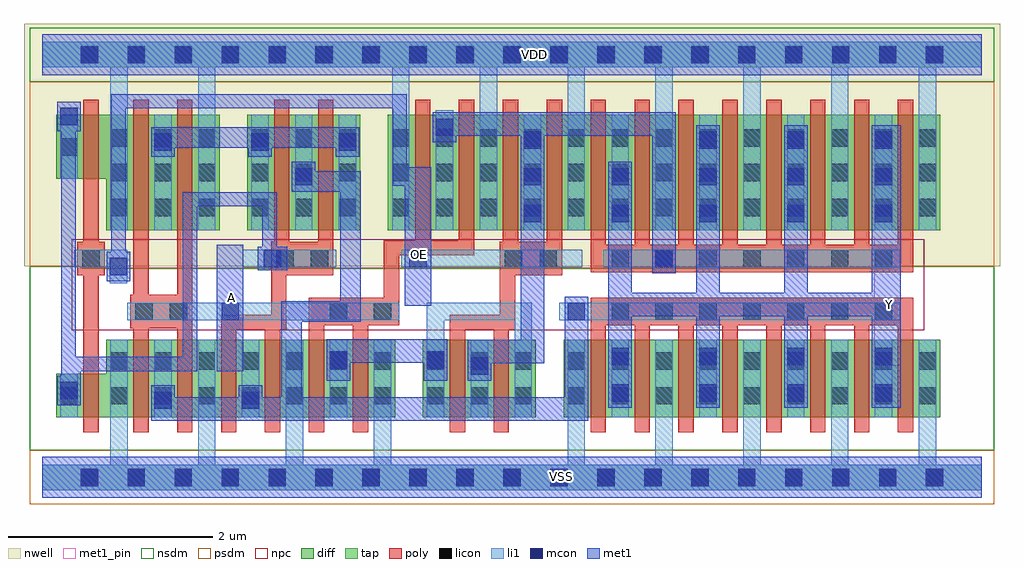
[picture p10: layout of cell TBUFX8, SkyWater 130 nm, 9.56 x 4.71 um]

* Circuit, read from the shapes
.subckt TBUFX8 A OE VDD VSS Y
XM1 VSS OE n1 VSS sky130_fd_pr__nfet_01v8 w=0.425 l=0.15
XM2 n2 A VSS VSS sky130_fd_pr__nfet_01v8 w=0.76 l=0.15 m=2
XM3 n2 n1 VSS VSS sky130_fd_pr__nfet_01v8 w=0.76 l=0.15 m=2
XM4 n3 A VSS VSS sky130_fd_pr__nfet_01v8 w=0.76 l=0.15 m=2
XM5 n4 OE n3 VSS sky130_fd_pr__nfet_01v8 w=0.76 l=0.15 m=2
XM6 Y n2 VSS VSS sky130_fd_pr__nfet_01v8 w=0.76 l=0.15 m=8
XM7 VDD OE n1 VDD sky130_fd_pr__pfet_01v8 w=0.625 l=0.15
XM8 n5 A VDD VDD sky130_fd_pr__pfet_01v8 w=1.13 l=0.15 m=2
XM9 n2 n1 n5 VDD sky130_fd_pr__pfet_01v8 w=1.13 l=0.15 m=2
XM10 n4 A VDD VDD sky130_fd_pr__pfet_01v8 w=1.13 l=0.15 m=2
XM11 n4 OE VDD VDD sky130_fd_pr__pfet_01v8 w=1.13 l=0.15 m=2
XM12 Y n4 VDD VDD sky130_fd_pr__pfet_01v8 w=1.13 l=0.15 m=8
.ends

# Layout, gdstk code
from math import pi, radians
import gdstk
lib = gdstk.Library(unit=1e-6, precision=1e-09)
def R(c, l, rs):  # rectangles x0, y0, x1, y1
    for r in rs: c.add(gdstk.rectangle(r[:2], r[2:], *l))
def A(c, l, x, y, w, h, nx, ny, dx, dy):  # array of equal rectangles
    R(c, l, [(x+i*dx, y+j*dy, x+i*dx+w, y+j*dy+h) for i in range(nx) for j in range(ny)])
def P(c, l, *ps):  # polygons
    for p in ps: c.add(gdstk.Polygon(p, *l))
nwell = (64, 20)
diff = (65, 20)
tap = (65, 44)
poly = (66, 20)
licon = (66, 44)
li1 = (67, 20)
mcon = (67, 44)
met1_pin = (68, 16)
met1 = (68, 20)
nsdm = (93, 44)
psdm = (94, 20)
npc = (95, 20)

pfet_01v8_cdns_716492285 = lib.new_cell('pfet_01v8_CDNS_7164922852256')
R(pfet_01v8_cdns_716492285, nwell, [(-0.235,-0.18,3.605,1.31)])
A(pfet_01v8_cdns_716492285, diff, 0, 0, 0.15, 1.13, 8, 1, 0.43, 0)
A(pfet_01v8_cdns_716492285, diff, 0.15, 0, 0.28, 1.13, 7, 1, 0.43, 0)
R(pfet_01v8_cdns_716492285, diff, [(-0.055,0,0,1.13), (3.16,0,3.425,1.13)])
A(pfet_01v8_cdns_716492285, poly, 0, -0.15, 0.15, 0.055, 8, 2, 0.43, 1.375)
A(pfet_01v8_cdns_716492285, poly, 0, -0.095, 0.15, 0.095, 8, 2, 0.43, 1.225)
A(pfet_01v8_cdns_716492285, poly, 0, 0, 0.15, 1.13, 8, 1, 0.43, 0)
A(pfet_01v8_cdns_716492285, licon, 0.205, 0.14, 0.17, 0.17, 8, 3, 0.43, 0.34)
A(pfet_01v8_cdns_716492285, li1, 0.205, 0, 0.17, 1.13, 8, 1, 0.43, 0)
R(pfet_01v8_cdns_716492285, psdm, [(-0.065,-0.13,3.565,1.26)])

nfet_01v8_cdns_716492285 = lib.new_cell('nfet_01v8_CDNS_7164922852257')
R(nfet_01v8_cdns_716492285, diff, [(-0.055,0,0,0.76), (0,0,0.15,0.76), (0.15,0,0.43,0.76), (0.43,0,0.58,0.76), (0.58,0,0.845,0.76)])
R(nfet_01v8_cdns_716492285, poly, [(0,-0.15,0.15,-0.095), (0.43,-0.15,0.58,-0.095), (0,-0.095,0.15,0), (0.43,-0.095,0.58,0), (0,0,0.15,0.76), (0.43,0,0.58,0.76), (0,0.76,0.15,0.855), (0.43,0.76,0.58,0.855), (0,0.855,0.15,0.91), (0.43,0.855,0.58,0.91)])
R(nfet_01v8_cdns_716492285, licon, [(0.205,0.125,0.375,0.295), (0.635,0.125,0.805,0.295), (0.205,0.465,0.375,0.635), (0.635,0.465,0.805,0.635)])
R(nfet_01v8_cdns_716492285, li1, [(0.205,0,0.375,0.76), (0.635,0,0.805,0.76)])
R(nfet_01v8_cdns_716492285, nsdm, [(-0.065,-0.13,0.985,0.89)])

c_nfet_01v8_cdns_716492285 = lib.new_cell('nfet_01v8_CDNS_7164922852258')
R(c_nfet_01v8_cdns_716492285, diff, [(-0.055,0,0,0.76), (0,0,0.15,0.76), (0.15,0,0.43,0.76), (0.43,0,0.58,0.76), (0.58,0,0.805,0.76)])
R(c_nfet_01v8_cdns_716492285, poly, [(0,-0.15,0.15,-0.095), (0.43,-0.15,0.58,-0.095), (0,-0.095,0.15,0), (0.43,-0.095,0.58,0), (0,0,0.15,0.76), (0.43,0,0.58,0.76), (0,0.76,0.15,0.855), (0.43,0.76,0.58,0.855), (0,0.855,0.15,0.91), (0.43,0.855,0.58,0.91)])
R(c_nfet_01v8_cdns_716492285, licon, [(0.205,0.125,0.375,0.295), (0.635,0.125,0.805,0.295), (0.205,0.465,0.375,0.635), (0.635,0.465,0.805,0.635)])
R(c_nfet_01v8_cdns_716492285, li1, [(0.205,0,0.375,0.76), (0.635,0,0.805,0.76)])
R(c_nfet_01v8_cdns_716492285, nsdm, [(-0.065,-0.13,0.815,0.89)])

c_pfet_01v8_cdns_716492285 = lib.new_cell('pfet_01v8_CDNS_7164922852259')
R(c_pfet_01v8_cdns_716492285, nwell, [(-0.235,-0.18,0.985,1.31)])
R(c_pfet_01v8_cdns_716492285, diff, [(-0.055,0,0,1.13), (0,0,0.15,1.13), (0.15,0,0.43,1.13), (0.43,0,0.58,1.13), (0.58,0,0.805,1.13)])
R(c_pfet_01v8_cdns_716492285, poly, [(0,-0.15,0.15,-0.095), (0.43,-0.15,0.58,-0.095), (0,-0.095,0.15,0), (0.43,-0.095,0.58,0), (0,0,0.15,1.13), (0.43,0,0.58,1.13), (0,1.13,0.15,1.225), (0.43,1.13,0.58,1.225), (0,1.225,0.15,1.28), (0.43,1.225,0.58,1.28)])
A(c_pfet_01v8_cdns_716492285, licon, 0.205, 0.14, 0.17, 0.17, 1, 3, 0, 0.34)
A(c_pfet_01v8_cdns_716492285, licon, 0.635, 0.14, 0.17, 0.17, 1, 3, 0, 0.34)
R(c_pfet_01v8_cdns_716492285, li1, [(0.205,0,0.375,1.13), (0.635,0,0.805,1.13)])
R(c_pfet_01v8_cdns_716492285, psdm, [(-0.065,-0.13,0.815,1.26)])

c_pfet_01v8_cdns_716492285_ = lib.new_cell('pfet_01v8_CDNS_7164922852260')
R(c_pfet_01v8_cdns_716492285_, nwell, [(-0.445,-0.18,1.025,1.31)])
R(c_pfet_01v8_cdns_716492285_, diff, [(-0.265,0,0,1.13), (0,0,0.15,1.13), (0.15,0,0.43,1.13), (0.43,0,0.58,1.13), (0.58,0,0.845,1.13)])
R(c_pfet_01v8_cdns_716492285_, poly, [(0,-0.15,0.15,-0.095), (0.43,-0.15,0.58,-0.095), (0,-0.095,0.15,0), (0.43,-0.095,0.58,0), (0,0,0.15,1.13), (0.43,0,0.58,1.13), (0,1.13,0.15,1.225), (0.43,1.13,0.58,1.225), (0,1.225,0.15,1.28), (0.43,1.225,0.58,1.28)])
A(c_pfet_01v8_cdns_716492285_, licon, -0.225, 0.14, 0.17, 0.17, 3, 3, 0.43, 0.34)
A(c_pfet_01v8_cdns_716492285_, li1, -0.225, 0, 0.17, 1.13, 3, 1, 0.43, 0)
R(c_pfet_01v8_cdns_716492285_, psdm, [(-0.405,-0.13,0.985,1.26)])

c_nfet_01v8_cdns_716492285_ = lib.new_cell('nfet_01v8_CDNS_7164922852261')
R(c_nfet_01v8_cdns_716492285_, diff, [(-0.265,0,0,0.76), (0,0,0.15,0.76), (0.15,0,0.43,0.76), (0.43,0,0.58,0.76), (0.58,0,0.845,0.76)])
R(c_nfet_01v8_cdns_716492285_, poly, [(0,-0.15,0.15,-0.095), (0.43,-0.15,0.58,-0.095), (0,-0.095,0.15,0), (0.43,-0.095,0.58,0), (0,0,0.15,0.76), (0.43,0,0.58,0.76), (0,0.76,0.15,0.855), (0.43,0.76,0.58,0.855), (0,0.855,0.15,0.91), (0.43,0.855,0.58,0.91)])
A(c_nfet_01v8_cdns_716492285_, licon, -0.225, 0.125, 0.17, 0.17, 3, 2, 0.43, 0.34)
A(c_nfet_01v8_cdns_716492285_, li1, -0.225, 0, 0.17, 0.76, 3, 1, 0.43, 0)
R(c_nfet_01v8_cdns_716492285_, nsdm, [(-0.405,-0.13,0.985,0.89)])

c_pfet_01v8_cdns_716492285__ = lib.new_cell('pfet_01v8_CDNS_7164922852262')
R(c_pfet_01v8_cdns_716492285__, nwell, [(-0.255,-0.18,0.595,0.805)])
R(c_pfet_01v8_cdns_716492285__, diff, [(-0.075,0,0,0.625), (0,0,0.15,0.625), (0.15,0,0.415,0.625)])
R(c_pfet_01v8_cdns_716492285__, poly, [(0,-0.15,0.15,-0.095), (0,-0.095,0.15,0), (0,0,0.15,0.625), (0,0.625,0.15,0.72), (0,0.72,0.15,0.775)])
R(c_pfet_01v8_cdns_716492285__, licon, [(0.205,0.225,0.375,0.395)])
R(c_pfet_01v8_cdns_716492285__, li1, [(0.205,0,0.375,0.625)])
R(c_pfet_01v8_cdns_716492285__, psdm, [(0.045,-0.13,0.555,0.755)])

c_nfet_01v8_cdns_716492285__ = lib.new_cell('nfet_01v8_CDNS_7164922852263')
R(c_nfet_01v8_cdns_716492285__, diff, [(-0.265,0,0,0.76), (0,0,0.15,0.76), (0.15,0,0.43,0.76), (0.43,0,0.58,0.76), (0.58,0,0.805,0.76)])
R(c_nfet_01v8_cdns_716492285__, poly, [(0,-0.15,0.15,-0.095), (0.43,-0.15,0.58,-0.095), (0,-0.095,0.15,0), (0.43,-0.095,0.58,0), (0,0,0.15,0.76), (0.43,0,0.58,0.76), (0,0.76,0.15,0.855), (0.43,0.76,0.58,0.855), (0,0.855,0.15,0.91), (0.43,0.855,0.58,0.91)])
A(c_nfet_01v8_cdns_716492285__, licon, -0.225, 0.125, 0.17, 0.17, 3, 2, 0.43, 0.34)
A(c_nfet_01v8_cdns_716492285__, li1, -0.225, 0, 0.17, 0.76, 3, 1, 0.43, 0)
R(c_nfet_01v8_cdns_716492285__, nsdm, [(-0.405,-0.13,0.815,0.89)])

c_nfet_01v8_cdns_716492285___ = lib.new_cell('nfet_01v8_CDNS_7164922852264')
A(c_nfet_01v8_cdns_716492285___, diff, 0, 0, 0.15, 0.76, 8, 1, 0.43, 0)
A(c_nfet_01v8_cdns_716492285___, diff, 0.15, 0, 0.28, 0.76, 7, 1, 0.43, 0)
R(c_nfet_01v8_cdns_716492285___, diff, [(-0.265,0,0,0.76), (3.16,0,3.425,0.76)])
A(c_nfet_01v8_cdns_716492285___, poly, 0, -0.15, 0.15, 0.055, 8, 2, 0.43, 1.005)
A(c_nfet_01v8_cdns_716492285___, poly, 0, -0.095, 0.15, 0.095, 8, 2, 0.43, 0.855)
A(c_nfet_01v8_cdns_716492285___, poly, 0, 0, 0.15, 0.76, 8, 1, 0.43, 0)
A(c_nfet_01v8_cdns_716492285___, licon, -0.225, 0.125, 0.17, 0.17, 9, 2, 0.43, 0.34)
A(c_nfet_01v8_cdns_716492285___, li1, -0.225, 0, 0.17, 0.76, 9, 1, 0.43, 0)
R(c_nfet_01v8_cdns_716492285___, nsdm, [(-0.405,-0.13,3.565,0.89)])

c_nfet_01v8_cdns_716492285____ = lib.new_cell('nfet_01v8_CDNS_7164922852265')
R(c_nfet_01v8_cdns_716492285____, diff, [(-0.075,0,0,0.425), (0,0,0.15,0.425), (0.15,0,0.415,0.425)])
R(c_nfet_01v8_cdns_716492285____, poly, [(0,-0.15,0.15,-0.095), (0,-0.095,0.15,0), (0,0,0.15,0.425), (0,0.425,0.15,0.52), (0,0.52,0.15,0.575)])
R(c_nfet_01v8_cdns_716492285____, licon, [(0.205,0.125,0.375,0.295)])
R(c_nfet_01v8_cdns_716492285____, li1, [(0.205,0,0.375,0.425)])
R(c_nfet_01v8_cdns_716492285____, nsdm, [(0.045,-0.13,0.555,0.555)])

c_pfet_01v8_cdns_716492285___ = lib.new_cell('pfet_01v8_CDNS_7164922852266')
R(c_pfet_01v8_cdns_716492285___, nwell, [(-0.445,-0.18,1.025,1.31)])
R(c_pfet_01v8_cdns_716492285___, diff, [(-0.265,0,0,1.13), (0,0,0.15,1.13), (0.15,0,0.43,1.13), (0.43,0,0.58,1.13), (0.58,0,0.845,1.13)])
R(c_pfet_01v8_cdns_716492285___, poly, [(0,-0.15,0.15,-0.095), (0.43,-0.15,0.58,-0.095), (0,-0.095,0.15,0), (0.43,-0.095,0.58,0), (0,0,0.15,1.13), (0.43,0,0.58,1.13), (0,1.13,0.15,1.225), (0.43,1.13,0.58,1.225), (0,1.225,0.15,1.28), (0.43,1.225,0.58,1.28)])
A(c_pfet_01v8_cdns_716492285___, licon, -0.225, 0.14, 0.17, 0.17, 3, 3, 0.43, 0.34)
A(c_pfet_01v8_cdns_716492285___, li1, -0.225, 0, 0.17, 1.13, 3, 1, 0.43, 0)
R(c_pfet_01v8_cdns_716492285___, psdm, [(-0.405,-0.13,0.985,1.26)])

c_pfet_01v8_cdns_716492285____ = lib.new_cell('pfet_01v8_CDNS_7164922852267')
R(c_pfet_01v8_cdns_716492285____, nwell, [(-0.445,-0.18,0.985,1.31)])
R(c_pfet_01v8_cdns_716492285____, diff, [(-0.265,0,0,1.13), (0,0,0.15,1.13), (0.15,0,0.43,1.13), (0.43,0,0.58,1.13), (0.58,0,0.805,1.13)])
R(c_pfet_01v8_cdns_716492285____, poly, [(0,-0.15,0.15,-0.095), (0.43,-0.15,0.58,-0.095), (0,-0.095,0.15,0), (0.43,-0.095,0.58,0), (0,0,0.15,1.13), (0.43,0,0.58,1.13), (0,1.13,0.15,1.225), (0.43,1.13,0.58,1.225), (0,1.225,0.15,1.28), (0.43,1.225,0.58,1.28)])
A(c_pfet_01v8_cdns_716492285____, licon, -0.225, 0.14, 0.17, 0.17, 3, 3, 0.43, 0.34)
A(c_pfet_01v8_cdns_716492285____, li1, -0.225, 0, 0.17, 1.13, 3, 1, 0.43, 0)
R(c_pfet_01v8_cdns_716492285____, psdm, [(-0.405,-0.13,0.815,1.26)])

l1m1_c_cdns_716492285228 = lib.new_cell('L1M1_C_CDNS_716492285228')
R(l1m1_c_cdns_716492285228, li1, [(-0.085,-0.085,0.085,0.085)])
R(l1m1_c_cdns_716492285228, mcon, [(-0.085,-0.085,0.085,0.085)])
R(l1m1_c_cdns_716492285228, met1, [(-0.115,-0.145,0.115,0.145)])

l1m1_c_cdns_716492285223 = lib.new_cell('L1M1_C_CDNS_716492285223')
R(l1m1_c_cdns_716492285223, li1, [(-0.165,-0.085,0.165,0.085)])
R(l1m1_c_cdns_716492285223, mcon, [(-0.085,-0.085,0.085,0.085)])
R(l1m1_c_cdns_716492285223, met1, [(-0.115,-0.145,0.115,0.145)])

pyl1con_c_cdns_716492285 = lib.new_cell('PYL1CON_C_CDNS_716492285220')
R(pyl1con_c_cdns_716492285, poly, [(-0.135,-0.165,0.135,0.165)])
R(pyl1con_c_cdns_716492285, licon, [(-0.085,-0.085,0.085,0.085)])
R(pyl1con_c_cdns_716492285, npc, [(-0.185,-0.185,0.185,0.185)])

l1m1_c_cdns_716492285222 = lib.new_cell('L1M1_C_CDNS_716492285222')
R(l1m1_c_cdns_716492285222, li1, [(-0.085,-0.165,0.085,0.165)])
R(l1m1_c_cdns_716492285222, mcon, [(-0.085,-0.085,0.085,0.085)])
R(l1m1_c_cdns_716492285222, met1, [(-0.115,-0.145,0.115,0.145)])

l1m1_c_cdns_716492285225 = lib.new_cell('L1M1_C_CDNS_716492285225')
R(l1m1_c_cdns_716492285225, li1, [(-0.085,-0.345,0.085,0.345)])
R(l1m1_c_cdns_716492285225, mcon, [(-0.085,-0.265,0.085,-0.095), (-0.085,0.095,0.085,0.265)])
R(l1m1_c_cdns_716492285225, met1, [(-0.115,-0.325,0.115,0.325)])

l1m1_c_cdns_716492285224 = lib.new_cell('L1M1_C_CDNS_716492285224')
R(l1m1_c_cdns_716492285224, li1, [(-0.085,-0.525,0.085,0.525)])
A(l1m1_c_cdns_716492285224, mcon, -0.085, -0.445, 0.17, 0.17, 1, 3, 0, 0.36)
R(l1m1_c_cdns_716492285224, met1, [(-0.115,-0.505,0.115,0.505)])

l1m1_c_cdns_716492285221 = lib.new_cell('L1M1_C_CDNS_7164922852219')
R(l1m1_c_cdns_716492285221, li1, [(-0.085,-0.145,0.085,0.145)])
R(l1m1_c_cdns_716492285221, mcon, [(-0.085,-0.085,0.085,0.085)])
R(l1m1_c_cdns_716492285221, met1, [(-0.115,-0.205,0.115,0.205)])

c_l1m1_c_cdns_716492285221 = lib.new_cell('L1M1_C_CDNS_7164922852214')
R(c_l1m1_c_cdns_716492285221, li1, [(-0.085,-0.165,0.085,0.085)])
R(c_l1m1_c_cdns_716492285221, mcon, [(-0.085,-0.085,0.085,0.085)])
R(c_l1m1_c_cdns_716492285221, met1, [(-0.115,-0.145,0.115,0.145)])

l1m1_c_cdns_716492285227 = lib.new_cell('L1M1_C_CDNS_716492285227')
R(l1m1_c_cdns_716492285227, li1, [(-0.165,-0.085,0.165,0.085)])
R(l1m1_c_cdns_716492285227, mcon, [(-0.085,-0.085,0.085,0.085)])
R(l1m1_c_cdns_716492285227, met1, [(-0.145,-0.115,0.145,0.115)])

tbufx8 = lib.new_cell('TBUFX8')
R(tbufx8, nwell, [(-0.18,2.07,9.38,4.445), (-0.18,3.875,9.38,4.445)])
R(tbufx8, poly, [(0.86,1.46,1.47,1.79), (2.24,1.98,2.85,2.31), (4.48,1.98,5.09,2.31)])
A(tbufx8, licon, 0.375, -0.085, 0.17, 0.17, 19, 2, 0.46, 4.14)
A(tbufx8, mcon, 0.375, -0.085, 0.17, 0.17, 19, 2, 0.46, 4.14)
R(tbufx8, met1_pin, [(1.71,1.04,1.97,2.28), (8.15,1.095,8.41,2.335), (3.55,1.68,3.81,3.04)])
R(tbufx8, met1, [(8.125,0.68,8.41,3.45), (0.325,0.995,0.375,1.04), (3.55,1.68,3.81,3.04)])
R(tbufx8, nsdm, [(-0.125,3.875,9.325,4.405), (-0.125,3.93,9.325,4.35)])
P(tbufx8, nsdm, [(9.325,2.07),(8.325,2.07),(8.325,2.05),(0.39,2.05),(0.39,2.07),(-0.125,2.07),(-0.125,0.265),(9.325,0.265)])
R(tbufx8, psdm, [(-0.125,-0.265,9.325,0.265), (-0.125,-0.21,9.325,0.21)])
P(tbufx8, psdm, [(9.325,3.875),(-0.125,3.875),(-0.125,2.07),(0.37,2.07),(0.37,2.05),(8.345,2.05),(8.345,2.07),(9.325,2.07)])
R(tbufx8, npc, [(0.29,1.44,8.64,2.33)])
tbufx8.add(gdstk.FlexPath([(1.75,1.52),(2.315,1.52)], 0.15, ends=(0, 0.075), simple_path=True, layer=66, datatype=20))  # poly
tbufx8.add(gdstk.FlexPath([(1.395,1.445),(1.395,2.325)], 0.15, ends="flush", simple_path=True, layer=66, datatype=20))  # poly
tbufx8.add(gdstk.FlexPath([(4.23,2.25),(3.42,2.25)], 0.15, ends=(0, 0.075), simple_path=True, layer=66, datatype=20))  # poly
tbufx8.add(gdstk.FlexPath([(3.115,1.49),(3.115,1.76)], 0.15, ends="flush", simple_path=True, layer=66, datatype=20))  # poly
tbufx8.add(gdstk.FlexPath([(2.685,1.49),(2.685,1.76)], 0.15, ends="flush", simple_path=True, layer=66, datatype=20))  # poly
tbufx8.add(gdstk.FlexPath([(0.475,1.11),(0.475,2.83)], 0.15, ends="flush", simple_path=True, layer=66, datatype=20))  # poly
tbufx8.add(gdstk.FlexPath([(0.965,1.445),(0.965,2.325)], 0.15, ends="flush", simple_path=True, layer=66, datatype=20))  # poly
tbufx8.add(gdstk.FlexPath([(2.315,1.52),(2.315,2.31)], 0.15, ends=(0.075, 0), simple_path=True, layer=66, datatype=20))  # poly
tbufx8.add(gdstk.FlexPath([(8.455,2.01),(8.455,2.28)], 0.15, ends="flush", simple_path=True, layer=66, datatype=20))  # poly
tbufx8.add(gdstk.FlexPath([(8.025,2.01),(8.025,2.28)], 0.15, ends="flush", simple_path=True, layer=66, datatype=20))  # poly
tbufx8.add(gdstk.FlexPath([(7.165,2.01),(7.165,2.28)], 0.15, ends="flush", simple_path=True, layer=66, datatype=20))  # poly
tbufx8.add(gdstk.FlexPath([(7.595,2.01),(7.595,2.28)], 0.15, ends="flush", simple_path=True, layer=66, datatype=20))  # poly
tbufx8.add(gdstk.FlexPath([(3.42,2.25),(3.42,1.49)], 0.15, ends=(0.075, 0), simple_path=True, layer=66, datatype=20))  # poly
tbufx8.add(gdstk.FlexPath([(4.555,1.52),(4.555,2.31)], 0.15, ends=(0.075, 0), simple_path=True, layer=66, datatype=20))  # poly
tbufx8.add(gdstk.FlexPath([(3.99,1.52),(4.555,1.52)], 0.15, ends=(0, 0.075), simple_path=True, layer=66, datatype=20))  # poly
tbufx8.add(gdstk.FlexPath([(6.735,2.01),(6.735,2.28)], 0.15, ends="flush", simple_path=True, layer=66, datatype=20))  # poly
tbufx8.add(gdstk.FlexPath([(5.445,2.01),(5.445,2.28)], 0.15, ends="flush", simple_path=True, layer=66, datatype=20))  # poly
tbufx8.add(gdstk.FlexPath([(5.875,2.01),(5.875,2.28)], 0.15, ends="flush", simple_path=True, layer=66, datatype=20))  # poly
tbufx8.add(gdstk.FlexPath([(6.305,2.01),(6.305,2.28)], 0.15, ends="flush", simple_path=True, layer=66, datatype=20))  # poly
tbufx8.add(gdstk.FlexPath([(8.455,1.49),(8.455,1.76)], 0.15, ends="flush", simple_path=True, layer=66, datatype=20))  # poly
tbufx8.add(gdstk.FlexPath([(7.165,1.49),(7.165,1.76)], 0.15, ends="flush", simple_path=True, layer=66, datatype=20))  # poly
tbufx8.add(gdstk.FlexPath([(7.595,1.49),(7.595,1.76)], 0.15, ends="flush", simple_path=True, layer=66, datatype=20))  # poly
tbufx8.add(gdstk.FlexPath([(6.305,1.49),(6.305,1.76)], 0.15, ends="flush", simple_path=True, layer=66, datatype=20))  # poly
tbufx8.add(gdstk.FlexPath([(8.025,1.49),(8.025,1.76)], 0.15, ends="flush", simple_path=True, layer=66, datatype=20))  # poly
tbufx8.add(gdstk.FlexPath([(6.735,1.49),(6.735,1.76)], 0.15, ends="flush", simple_path=True, layer=66, datatype=20))  # poly
tbufx8.add(gdstk.FlexPath([(5.445,1.49),(5.445,1.76)], 0.15, ends="flush", simple_path=True, layer=66, datatype=20))  # poly
tbufx8.add(gdstk.FlexPath([(5.875,1.49),(5.875,1.76)], 0.15, ends="flush", simple_path=True, layer=66, datatype=20))  # poly
tbufx8.add(gdstk.FlexPath([(0,4.14),(9.2,4.14)], 0.4, ends="flush", simple_path=True, layer=68, datatype=16))  # met1_pin
tbufx8.add(gdstk.FlexPath([(0,0),(9.2,0)], 0.4, ends="flush", simple_path=True, layer=68, datatype=16))  # met1_pin
tbufx8.add(gdstk.FlexPath([(0.745,2.195),(0.755,2.195)], 0.14, ends=(0.07, 0), simple_path=True, layer=68, datatype=20))  # met1
tbufx8.add(gdstk.FlexPath([(3.5,2.925),(3.5,3.685)], 0.14, ends="extended", simple_path=True, layer=68, datatype=20))  # met1
tbufx8.add(gdstk.FlexPath([(3.68,2.925),(3.5,2.925)], 0.14, ends="extended", simple_path=True, layer=68, datatype=20))  # met1
tbufx8.add(gdstk.FlexPath([(0.255,3.535),(0.255,0.765)], 0.14, ends=(0.07, 0), simple_path=True, layer=68, datatype=20))  # met1
tbufx8.add(gdstk.FlexPath([(3.02,1.625),(2.44,1.625)], 0.2, ends="extended", simple_path=True, layer=68, datatype=20))  # met1
tbufx8.add(gdstk.FlexPath([(0,0),(9.2,0)], 0.4, ends="flush", simple_path=True, layer=68, datatype=20))  # met1
tbufx8.add(gdstk.FlexPath([(3.68,1.98),(3.68,2.925)], 0.14, ends=(0, 0.07), simple_path=True, layer=68, datatype=20))  # met1
tbufx8.add(gdstk.FlexPath([(1.445,2.725),(2.225,2.725)], 0.14, ends="extended", simple_path=True, layer=68, datatype=20))  # met1
tbufx8.add(gdstk.FlexPath([(1.445,1.11),(1.445,2.54)], 0.14, ends="extended", simple_path=True, layer=68, datatype=20))  # met1
tbufx8.add(gdstk.FlexPath([(3.02,2.9),(3.02,1.625)], 0.2, ends="extended", simple_path=True, layer=68, datatype=20))  # met1
tbufx8.add(gdstk.FlexPath([(0.745,3.685),(0.745,2.195)], 0.14, ends="extended", simple_path=True, layer=68, datatype=20))  # met1
tbufx8.add(gdstk.FlexPath([(0.255,3.535),(0.26,3.535)], 0.14, ends=(0.07, 0), simple_path=True, layer=68, datatype=20))  # met1
tbufx8.add(gdstk.FlexPath([(2.225,2.725),(2.225,2.145)], 0.14, ends="extended", simple_path=True, layer=68, datatype=20))  # met1
tbufx8.add(gdstk.FlexPath([(2.56,3.09),(2.56,2.9)], 0.2, ends=(0, 0.1), simple_path=True, layer=68, datatype=20))  # met1
tbufx8.add(gdstk.FlexPath([(1.84,1.04),(1.84,2.28)], 0.26, ends="flush", simple_path=True, layer=68, datatype=20))  # met1
tbufx8.add(gdstk.FlexPath([(8.28,0.68),(8.28,3.45)], 0.26, ends="flush", simple_path=True, layer=68, datatype=20))  # met1
tbufx8.add(gdstk.FlexPath([(2.225,2.145),(2.13,2.145)], 0.14, ends=(0.07, 0), simple_path=True, layer=68, datatype=20))  # met1
tbufx8.add(gdstk.FlexPath([(2.44,0.67),(2.44,0.65)], 0.2, ends=(0.115, 0), simple_path=True, layer=68, datatype=20))  # met1
tbufx8.add(gdstk.FlexPath([(2.95,3.33),(1.165,3.33)], 0.2, ends="flush", simple_path=True, layer=68, datatype=20))  # met1
tbufx8.add(gdstk.FlexPath([(2.44,1.625),(2.44,0.67)], 0.2, ends=(0.1, 0.115), simple_path=True, layer=68, datatype=20))  # met1
tbufx8.add(gdstk.FlexPath([(5.66,1.695),(8.24,1.695)], 0.23, ends="extended", simple_path=True, layer=68, datatype=20))  # met1
tbufx8.add(gdstk.FlexPath([(7.38,0.68),(7.38,3.45)], 0.23, ends="flush", simple_path=True, layer=68, datatype=20))  # met1
tbufx8.add(gdstk.FlexPath([(1.445,2.54),(1.445,2.725)], 0.14, ends="extended", simple_path=True, layer=68, datatype=20))  # met1
tbufx8.add(gdstk.FlexPath([(5.66,0.68),(5.66,3.09)], 0.23, ends="flush", simple_path=True, layer=68, datatype=20))  # met1
tbufx8.add(gdstk.FlexPath([(6.52,0.68),(6.52,3.45)], 0.23, ends="flush", simple_path=True, layer=68, datatype=20))  # met1
tbufx8.add(gdstk.FlexPath([(6.09,3.46),(6.09,2)], 0.23, ends=(0.115, 0), simple_path=True, layer=68, datatype=20))  # met1
tbufx8.add(gdstk.FlexPath([(2.56,2.9),(3.02,2.9)], 0.2, ends="extended", simple_path=True, layer=68, datatype=20))  # met1
tbufx8.add(gdstk.FlexPath([(4.8,1.235),(4.8,3.575)], 0.23, ends=(0.115, 0), simple_path=True, layer=68, datatype=20))  # met1
tbufx8.add(gdstk.FlexPath([(3.835,1.24),(2.885,1.24)], 0.23, ends="flush", simple_path=True, layer=68, datatype=20))  # met1
tbufx8.add(gdstk.FlexPath([(1.18,0.785),(1.18,0.67)], 0.23, ends=(0, 0.115), simple_path=True, layer=68, datatype=20))  # met1
tbufx8.add(gdstk.FlexPath([(1.18,0.67),(2.44,0.67)], 0.23, ends=(0.115, 0.1), simple_path=True, layer=68, datatype=20))  # met1
tbufx8.add(gdstk.FlexPath([(5.23,0.67),(5.23,1.77)], 0.23, ends=(0.115, 0), simple_path=True, layer=68, datatype=20))  # met1
tbufx8.add(gdstk.FlexPath([(3.94,3.46),(6.09,3.46)], 0.23, ends=(0, 0.115), simple_path=True, layer=68, datatype=20))  # met1
tbufx8.add(gdstk.FlexPath([(0,4.14),(9.2,4.14)], 0.4, ends="flush", simple_path=True, layer=68, datatype=20))  # met1
tbufx8.add(gdstk.FlexPath([(0.235,1.11),(1.445,1.11)], 0.14, ends=(0, 0.07), simple_path=True, layer=68, datatype=20))  # met1
tbufx8.add(gdstk.FlexPath([(2.44,0.67),(5.23,0.67)], 0.23, ends=(0.1, 0.115), simple_path=True, layer=68, datatype=20))  # met1
tbufx8.add(gdstk.FlexPath([(3.5,3.685),(0.745,3.685)], 0.14, ends="extended", simple_path=True, layer=68, datatype=20))  # met1
tbufx8.add(gdstk.FlexPath([(4.165,1.235),(4.8,1.235)], 0.23, ends=(0, 0.115), simple_path=True, layer=68, datatype=20))  # met1
tbufx8.add(gdstk.FlexPath([(1.445,2.725),(1.48,2.725)], 0.14, ends="extended", simple_path=True, layer=68, datatype=20))  # met1
tbufx8.add(gdstk.FlexPath([(4.71,1.625),(4.71,1.35)], 0.17, ends="flush", simple_path=True, layer=67, datatype=20))  # li1
tbufx8.add(gdstk.FlexPath([(3.85,1.27),(3.85,1.625)], 0.17, ends=(0, 0.085), simple_path=True, layer=67, datatype=20))  # li1
tbufx8.add(gdstk.FlexPath([(0,0),(9.2,0)], 0.25, ends="flush", simple_path=True, layer=67, datatype=20))  # li1
tbufx8.add(gdstk.FlexPath([(2.88,2.145),(1.965,2.145)], 0.17, ends="flush", simple_path=True, layer=67, datatype=20))  # li1
tbufx8.add(gdstk.FlexPath([(0.74,2.145),(0.31,2.145)], 0.17, ends="flush", simple_path=True, layer=67, datatype=20))  # li1
tbufx8.add(gdstk.FlexPath([(5.29,2.145),(3.515,2.145)], 0.17, ends="flush", simple_path=True, layer=67, datatype=20))  # li1
tbufx8.add(gdstk.FlexPath([(0,4.14),(9.2,4.14)], 0.25, ends="flush", simple_path=True, layer=67, datatype=20))  # li1
tbufx8.add(gdstk.FlexPath([(4.37,2.925),(4.37,4.14)], 0.17, ends=(0, 0.125), simple_path=True, layer=67, datatype=20))  # li1
tbufx8.add(gdstk.FlexPath([(6.09,2.925),(6.09,4.14)], 0.17, ends=(0, 0.125), simple_path=True, layer=67, datatype=20))  # li1
tbufx8.add(gdstk.FlexPath([(6.95,2.925),(6.95,4.14)], 0.17, ends=(0, 0.125), simple_path=True, layer=67, datatype=20))  # li1
tbufx8.add(gdstk.FlexPath([(6.95,1.015),(6.95,0)], 0.17, ends=(0, 0.125), simple_path=True, layer=67, datatype=20))  # li1
tbufx8.add(gdstk.FlexPath([(6.09,1.015),(6.09,0)], 0.17, ends=(0, 0.125), simple_path=True, layer=67, datatype=20))  # li1
tbufx8.add(gdstk.FlexPath([(5.23,1.015),(5.23,0)], 0.17, ends=(0, 0.125), simple_path=True, layer=67, datatype=20))  # li1
tbufx8.add(gdstk.FlexPath([(3.85,1.625),(4.795,1.625)], 0.17, ends=(0.085, 0), simple_path=True, layer=67, datatype=20))  # li1
tbufx8.add(gdstk.FlexPath([(3.33,1.015),(3.33,0)], 0.17, ends=(0, 0.125), simple_path=True, layer=67, datatype=20))  # li1
tbufx8.add(gdstk.FlexPath([(2.47,1.015),(2.47,0)], 0.17, ends=(0, 0.125), simple_path=True, layer=67, datatype=20))  # li1
tbufx8.add(gdstk.FlexPath([(1.61,1.015),(1.61,0)], 0.17, ends=(0, 0.125), simple_path=True, layer=67, datatype=20))  # li1
tbufx8.add(gdstk.FlexPath([(0.75,1.015),(0.75,0)], 0.17, ends=(0, 0.125), simple_path=True, layer=67, datatype=20))  # li1
tbufx8.add(gdstk.FlexPath([(3.51,2.925),(3.51,4.14)], 0.17, ends=(0, 0.125), simple_path=True, layer=67, datatype=20))  # li1
tbufx8.add(gdstk.FlexPath([(1.61,2.925),(1.61,4.14)], 0.17, ends=(0, 0.125), simple_path=True, layer=67, datatype=20))  # li1
tbufx8.add(gdstk.FlexPath([(0.75,2.925),(0.75,4.14)], 0.17, ends=(0, 0.125), simple_path=True, layer=67, datatype=20))  # li1
tbufx8.add(gdstk.FlexPath([(5.23,2.925),(5.23,4.14)], 0.17, ends=(0, 0.125), simple_path=True, layer=67, datatype=20))  # li1
tbufx8.add(gdstk.FlexPath([(3.495,1.625),(0.83,1.625)], 0.17, ends="flush", simple_path=True, layer=67, datatype=20))  # li1
tbufx8.add(gdstk.FlexPath([(5.495,2.145),(8.405,2.145)], 0.17, ends="flush", simple_path=True, layer=67, datatype=20))  # li1
tbufx8.add(gdstk.FlexPath([(8.67,2.925),(8.67,4.14)], 0.17, ends=(0, 0.125), simple_path=True, layer=67, datatype=20))  # li1
tbufx8.add(gdstk.FlexPath([(8.67,1.015),(8.67,0)], 0.17, ends=(0, 0.125), simple_path=True, layer=67, datatype=20))  # li1
tbufx8.add(gdstk.FlexPath([(5.065,1.625),(8.405,1.625)], 0.17, ends="flush", simple_path=True, layer=67, datatype=20))  # li1
tbufx8.add(gdstk.FlexPath([(7.81,1.015),(7.81,0)], 0.17, ends=(0, 0.125), simple_path=True, layer=67, datatype=20))  # li1
tbufx8.add(gdstk.FlexPath([(7.81,2.925),(7.81,4.14)], 0.17, ends=(0, 0.125), simple_path=True, layer=67, datatype=20))  # li1
tbufx8.add(gdstk.FlexPath([(0,0),(9.2,0)], 0.25, ends="flush", simple_path=True, layer=65, datatype=44))  # tap
tbufx8.add(gdstk.FlexPath([(0,4.14),(9.2,4.14)], 0.25, ends="flush", simple_path=True, layer=65, datatype=44))  # tap
tbufx8.add(gdstk.Reference(pfet_01v8_cdns_716492285, (5.37,2.42)))
tbufx8.add(gdstk.Reference(nfet_01v8_cdns_716492285, (2.61,0.59)))
tbufx8.add(gdstk.Reference(c_nfet_01v8_cdns_716492285, (1.75,0.59)))
tbufx8.add(gdstk.Reference(c_pfet_01v8_cdns_716492285, (4.51,2.42)))
tbufx8.add(gdstk.Reference(c_pfet_01v8_cdns_716492285_, (0.89,2.42)))
tbufx8.add(gdstk.Reference(c_nfet_01v8_cdns_716492285_, (3.99,0.59)))
tbufx8.add(gdstk.Reference(c_pfet_01v8_cdns_716492285__, (0.55,2.925), rotation=pi, x_reflection=True))
tbufx8.add(gdstk.Reference(c_nfet_01v8_cdns_716492285__, (0.89,0.59)))
tbufx8.add(gdstk.Reference(c_nfet_01v8_cdns_716492285___, (5.37,0.59)))
tbufx8.add(gdstk.Reference(c_nfet_01v8_cdns_716492285____, (0.55,0.59), rotation=pi, x_reflection=True))
tbufx8.add(gdstk.Reference(c_pfet_01v8_cdns_716492285___, (2.27,2.42)))
tbufx8.add(gdstk.Reference(c_pfet_01v8_cdns_716492285____, (3.65,2.42)))
tbufx8.add(gdstk.Reference(l1m1_c_cdns_716492285228, (3.85,1.15)))
tbufx8.add(gdstk.Reference(l1m1_c_cdns_716492285228, (2.9,1.15)))
tbufx8.add(gdstk.Reference(l1m1_c_cdns_716492285223, (3.68,2.145), rotation=pi, x_reflection=True))
tbufx8.add(gdstk.Reference(l1m1_c_cdns_716492285223, (6.09,2.145)))
tbufx8.add(gdstk.Reference(l1m1_c_cdns_716492285223, (5.23,1.625)))
tbufx8.add(gdstk.Reference(l1m1_c_cdns_716492285223, (1.84,1.625), x_reflection=True))
tbufx8.add(gdstk.Reference(pyl1con_c_cdns_716492285, (2.375,2.145)))
tbufx8.add(gdstk.Reference(pyl1con_c_cdns_716492285, (2.715,2.145)))
tbufx8.add(gdstk.Reference(pyl1con_c_cdns_716492285, (4.615,2.145)))
tbufx8.add(gdstk.Reference(pyl1con_c_cdns_716492285, (1.335,1.625)))
tbufx8.add(gdstk.Reference(pyl1con_c_cdns_716492285, (0.995,1.625)))
tbufx8.add(gdstk.Reference(pyl1con_c_cdns_716492285, (6.95,1.625), rotation=3*pi/2))
tbufx8.add(gdstk.Reference(pyl1con_c_cdns_716492285, (0.475,2.145), rotation=pi))
tbufx8.add(gdstk.Reference(pyl1con_c_cdns_716492285, (5.66,2.145), rotation=3*pi/2))
tbufx8.add(gdstk.Reference(pyl1con_c_cdns_716492285, (6.52,2.145), rotation=3*pi/2))
tbufx8.add(gdstk.Reference(pyl1con_c_cdns_716492285, (6.09,2.145), rotation=3*pi/2))
tbufx8.add(gdstk.Reference(pyl1con_c_cdns_716492285, (6.95,2.145), rotation=3*pi/2))
tbufx8.add(gdstk.Reference(pyl1con_c_cdns_716492285, (7.38,1.625), rotation=3*pi/2))
tbufx8.add(gdstk.Reference(pyl1con_c_cdns_716492285, (8.24,1.625), rotation=3*pi/2))
tbufx8.add(gdstk.Reference(pyl1con_c_cdns_716492285, (7.81,1.625), rotation=3*pi/2))
tbufx8.add(gdstk.Reference(pyl1con_c_cdns_716492285, (5.66,1.625), rotation=3*pi/2))
tbufx8.add(gdstk.Reference(pyl1con_c_cdns_716492285, (6.52,1.625), rotation=3*pi/2))
tbufx8.add(gdstk.Reference(pyl1con_c_cdns_716492285, (4.955,2.145)))
tbufx8.add(gdstk.Reference(pyl1con_c_cdns_716492285, (2.9,1.625), rotation=3*pi/2))
tbufx8.add(gdstk.Reference(pyl1con_c_cdns_716492285, (3.33,1.625), rotation=3*pi/2))
tbufx8.add(gdstk.Reference(pyl1con_c_cdns_716492285, (8.24,2.145), rotation=3*pi/2))
tbufx8.add(gdstk.Reference(pyl1con_c_cdns_716492285, (7.81,2.145), rotation=3*pi/2))
tbufx8.add(gdstk.Reference(pyl1con_c_cdns_716492285, (7.38,2.145), rotation=3*pi/2))
tbufx8.add(gdstk.Reference(pyl1con_c_cdns_716492285, (6.09,1.625), rotation=3*pi/2))
tbufx8.add(gdstk.Reference(l1m1_c_cdns_716492285222, (2.56,2.945)))
tbufx8.add(gdstk.Reference(l1m1_c_cdns_716492285222, (2.99,3.285)))
tbufx8.add(gdstk.Reference(l1m1_c_cdns_716492285222, (1.18,3.285)))
tbufx8.add(gdstk.Reference(l1m1_c_cdns_716492285222, (4.28,1.09)))
tbufx8.add(gdstk.Reference(l1m1_c_cdns_716492285222, (3.94,3.43)))
tbufx8.add(gdstk.Reference(l1m1_c_cdns_716492285222, (1.18,0.755)))
tbufx8.add(gdstk.Reference(l1m1_c_cdns_716492285222, (2.04,0.755)))
tbufx8.add(gdstk.Reference(l1m1_c_cdns_716492285222, (0.26,0.85), rotation=pi, x_reflection=True))
tbufx8.add(gdstk.Reference(l1m1_c_cdns_716492285222, (2.13,3.285)))
tbufx8.add(gdstk.Reference(l1m1_c_cdns_716492285225, (5.66,2.765)))
tbufx8.add(gdstk.Reference(l1m1_c_cdns_716492285225, (6.52,1.005)))
tbufx8.add(gdstk.Reference(l1m1_c_cdns_716492285225, (5.66,1.005)))
tbufx8.add(gdstk.Reference(l1m1_c_cdns_716492285225, (7.38,1.005)))
tbufx8.add(gdstk.Reference(l1m1_c_cdns_716492285225, (8.24,1.005)))
tbufx8.add(gdstk.Reference(l1m1_c_cdns_716492285224, (4.8,2.945)))
tbufx8.add(gdstk.Reference(l1m1_c_cdns_716492285224, (6.52,2.945)))
tbufx8.add(gdstk.Reference(l1m1_c_cdns_716492285224, (7.38,2.945)))
tbufx8.add(gdstk.Reference(l1m1_c_cdns_716492285224, (8.24,2.945)))
tbufx8.add(gdstk.Reference(l1m1_c_cdns_716492285221, (2.9,1.15)))
tbufx8.add(gdstk.Reference(l1m1_c_cdns_716492285221, (3.85,1.15)))
tbufx8.add(gdstk.Reference(c_l1m1_c_cdns_716492285221, (0.26,3.535), rotation=pi, x_reflection=True))
tbufx8.add(gdstk.Reference(l1m1_c_cdns_716492285227, (2.255,2.145), rotation=pi, x_reflection=True))
tbufx8.add(gdstk.Reference(l1m1_c_cdns_716492285227, (0.745,2.065), rotation=pi/2, x_reflection=True))
tbufx8.add(gdstk.Label('VDD', (4.825,4.145), layer=68, texttype=16))
tbufx8.add(gdstk.Label('VSS', (5.085,0.005), layer=68, texttype=16))
tbufx8.add(gdstk.Label('Y', (8.295,1.69), layer=68, texttype=16))
tbufx8.add(gdstk.Label('A', (1.855,1.76), layer=68, texttype=16))
tbufx8.add(gdstk.Label('OE', (3.695,2.18), layer=68, texttype=16))

lib.write_gds('TBUFX8.gds')
